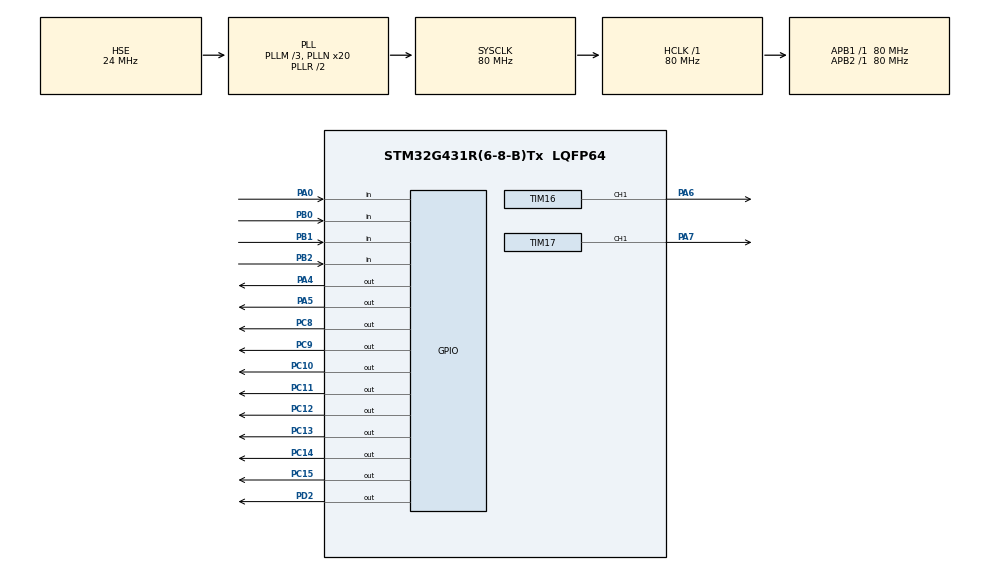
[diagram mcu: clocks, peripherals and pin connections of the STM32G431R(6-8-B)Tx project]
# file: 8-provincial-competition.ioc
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Mcu.Family=STM32G4
Mcu.Name=STM32G431R(6-8-B)Tx
Mcu.Package=LQFP64
NVIC.PriorityGroup=NVIC_PRIORITYGROUP_4
NVIC.TIM2_IRQn=true\:0\:0\:false\:false\:true\:true\:true\:true
NVIC.TIM3_IRQn=true\:0\:0\:false\:false\:true\:true\:true\:true
PA0.GPIO_PuPd=GPIO_PULLUP
PA0.Signal=GPIO_Input
PA13.Mode=Serial_Wire
PA13.Signal=SYS_JTMS-SWDIO
PA14.Mode=Serial_Wire
PA14.Signal=SYS_JTCK-SWCLK
PA4.Signal=GPIO_Output
PA5.Signal=GPIO_Output
PA6.Signal=S_TIM16_CH1
PA7.Signal=S_TIM17_CH1
PB0.GPIO_PuPd=GPIO_PULLUP
PB0.Signal=GPIO_Input
PB1.GPIO_PuPd=GPIO_PULLUP
PB1.Signal=GPIO_Input
PB2.GPIO_PuPd=GPIO_PULLUP
PB2.Signal=GPIO_Input
PC10.PinState=GPIO_PIN_SET
PC10.Signal=GPIO_Output
PC11.PinState=GPIO_PIN_SET
PC11.Signal=GPIO_Output
PC12.PinState=GPIO_PIN_SET
PC12.Signal=GPIO_Output
PC13.PinState=GPIO_PIN_SET
PC13.Signal=GPIO_Output
PC14-OSC32_IN.PinState=GPIO_PIN_SET
PC14-OSC32_IN.Signal=GPIO_Output
PC15-OSC32_OUT.PinState=GPIO_PIN_SET
PC15-OSC32_OUT.Signal=GPIO_Output
PC8.PinState=GPIO_PIN_SET
PC8.Signal=GPIO_Output
PC9.PinState=GPIO_PIN_SET
PC9.Signal=GPIO_Output
PD2.Signal=GPIO_Output
PF0-OSC_IN.Mode=HSE-External-Oscillator
PF0-OSC_IN.Signal=RCC_OSC_IN
PF1-OSC_OUT.Mode=HSE-External-Oscillator
PF1-OSC_OUT.Signal=RCC_OSC_OUT
ProjectManager.HeapSize=0x200
ProjectManager.StackSize=0x400
ProjectManager.TargetToolchain=MDK-ARM V5.32
RCC.ADC12Freq_Value=80000000
RCC.AHBFreq_Value=80000000
RCC.APB1Freq_Value=80000000
RCC.APB1TimFreq_Value=80000000
RCC.APB2Freq_Value=80000000
RCC.APB2TimFreq_Value=80000000
RCC.CortexFreq_Value=80000000
RCC.EXTERNAL_CLOCK_VALUE=12288000
RCC.HCLKFreq_Value=80000000
RCC.HSE_VALUE=24000000
RCC.HSI48_VALUE=48000000
RCC.HSI_VALUE=16000000
RCC.LSE_VALUE=32768
RCC.PLLM=RCC_PLLM_DIV3
RCC.PLLN=20
RCC.PLLSourceVirtual=RCC_PLLSOURCE_HSE
RCC.RTCClockSelection=RCC_RTCCLKSOURCE_HSE_DIV32
RCC.SYSCLKFreq_VALUE=80000000
RCC.SYSCLKSource=RCC_SYSCLKSOURCE_PLLCLK
RCC.USBFreq_Value=80000000
RCC.VCOOutputFreq_Value=160000000
RTC.AsynchPrediv=125
RTC.Format=RTC_FORMAT_BIN
RTC.Hours=12
RTC.Minutes=30
RTC.SynchPrediv=6000
SH.S_TIM16_CH1.0=TIM16_CH1,PWM Generation1 CH1
SH.S_TIM17_CH1.0=TIM17_CH1,PWM Generation1 CH1
TIM16.Channel=TIM_CHANNEL_1
TIM16.PeriodNoDither=100-1
TIM16.Prescaler=800-1
TIM17.Channel=TIM_CHANNEL_1
TIM17.PeriodNoDither=100-1
TIM17.Prescaler=400-1
TIM2.PeriodNoDither=10000-1
TIM2.Prescaler=8000-1
TIM3.PeriodNoDither=10000-1
TIM3.Prescaler=16000-1
VP_RTC_VS_RTC_Activate.Mode=RTC_Enabled
VP_RTC_VS_RTC_Calendar.Mode=RTC_Calendar
VP_SYS_VS_DBSignals.Mode=DisableDeadBatterySignals
VP_TIM16_VS_ClockSourceINT.Mode=Enable_Timer
VP_TIM17_VS_ClockSourceINT.Mode=Enable_Timer
VP_TIM2_VS_ClockSourceINT.Mode=Internal
VP_TIM3_VS_ClockSourceINT.Mode=Internal
board=custom

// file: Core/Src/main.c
/* USER CODE BEGIN Header */
/**
  ******************************************************************************
  * @file           : main.c
  * @brief          : Main program body
  ******************************************************************************
  * @attention
  *
  * Copyright (c) 2025 STMicroelectronics.
  * All rights reserved.
  *
  * This software is licensed under terms that can be found in the LICENSE file
  * in the root directory of this software component.
  * If no LICENSE file comes with this software, it is provided AS-IS.
  *
  ******************************************************************************
  */
/* USER CODE END Header */
#include "main.h"
#include "rtc.h"
#include "tim.h"
#include "gpio.h"

/* USER CODE BEGIN Includes */
#include "lcd.h"
#include "stdio.h"
#include "stdint.h"
#include "string.h"
/* USER CODE END Includes */

/* USER CODE BEGIN PV */
RTC_TimeTypeDef my_time;
RTC_DateTypeDef my_date;
uint8_t B1_State, B1_Last_State;
uint8_t B2_State, B2_Last_State;
uint8_t B3_State, B3_Last_State;
uint8_t B4_State, B4_Last_State;
char text[20];
uint8_t first=1; // 判断是否是第一次
uint8_t led[8] = {0x01, 0x02, 0x04, 0x08, 0x10, 0x20, 0x40, 0x80};
uint8_t go_up[3], go_down[3];  // 存储上行和下行楼层
uint8_t up_cnt, down_cnt, up_cnt1, down_cnt1;
uint8_t platform_num=1;  // 目前实际楼层数目
uint8_t platform_state=0;  // 目前电机工作状态
uint8_t flag1, flag2, flag3, flag4;
uint8_t up_flag, down_flag;  // 上行下行标志位
uint8_t time;  // 表示TIM2的计数值
uint8_t sec_1, sec_2, sec_6;  // 1s、2s、6s的标志位
uint8_t led_up=4, led_down=7;
uint8_t arrive_flag=0;  // 标识是否抵达楼层
/* USER CODE END PV */

void SystemClock_Config(void);
/* USER CODE BEGIN PFP */
void LED_Show(uint8_t led, uint8_t led_mode);
void lcd_interface(void);
void get_rtcvalue(void);
void KEY_Scan(void);
void flag_judge(void);
void lift_run(void);
void door_open(void);
void door_close(void);
void LCD_Shanshuo(void);
/* USER CODE END PFP */

int main(void)
{

  /* MCU Configuration--------------------------------------------------------*/

  /* Reset of all peripherals, Initializes the Flash interface and the Systick. */
  HAL_Init();

  /* Configure the system clock */
  SystemClock_Config();

  /* Initialize all configured peripherals */
  MX_GPIO_Init();
  MX_RTC_Init();
  MX_TIM2_Init();
  MX_TIM3_Init();
  MX_TIM16_Init();
  MX_TIM17_Init();
  /* USER CODE BEGIN 2 */
    LCD_Init();
	LCD_Clear(Black);
	LCD_SetBackColor(Black);
    LCD_SetTextColor(White);
    sprintf (text, "          %d         ",platform_num);
    LCD_DisplayStringLine(Line4, (uint8_t*)text);
  /* USER CODE END 2 */

  /* Infinite loop */
  /* USER CODE BEGIN WHILE */
  while (1){
      lcd_interface();
      KEY_Scan();
      flag_judge();
      lift_run();
    /* USER CODE END WHILE */

  }
}

void SystemClock_Config(void)
{
  RCC_OscInitTypeDef RCC_OscInitStruct = {0};
  RCC_ClkInitTypeDef RCC_ClkInitStruct = {0};

  /** Configure the main internal regulator output voltage
  */
  HAL_PWREx_ControlVoltageScaling(PWR_REGULATOR_VOLTAGE_SCALE1);

  /** Initializes the RCC Oscillators according to the specified parameters
  * in the RCC_OscInitTypeDef structure.
  */
  RCC_OscInitStruct.OscillatorType = RCC_OSCILLATORTYPE_HSE;
  RCC_OscInitStruct.HSEState = RCC_HSE_ON;
  RCC_OscInitStruct.PLL.PLLState = RCC_PLL_ON;
  RCC_OscInitStruct.PLL.PLLSource = RCC_PLLSOURCE_HSE;
  RCC_OscInitStruct.PLL.PLLM = RCC_PLLM_DIV3;
  RCC_OscInitStruct.PLL.PLLN = 20;
  RCC_OscInitStruct.PLL.PLLP = RCC_PLLP_DIV2;
  RCC_OscInitStruct.PLL.PLLQ = RCC_PLLQ_DIV2;
  RCC_OscInitStruct.PLL.PLLR = RCC_PLLR_DIV2;
  if (HAL_RCC_OscConfig(&RCC_OscInitStruct) != HAL_OK)
  {
    Error_Handler();
  }

  /** Initializes the CPU, AHB and APB buses clocks
  */
  RCC_ClkInitStruct.ClockType = RCC_CLOCKTYPE_HCLK|RCC_CLOCKTYPE_SYSCLK
                              |RCC_CLOCKTYPE_PCLK1|RCC_CLOCKTYPE_PCLK2;
  RCC_ClkInitStruct.SYSCLKSource = RCC_SYSCLKSOURCE_PLLCLK;
  RCC_ClkInitStruct.AHBCLKDivider = RCC_SYSCLK_DIV1;
  RCC_ClkInitStruct.APB1CLKDivider = RCC_HCLK_DIV1;
  RCC_ClkInitStruct.APB2CLKDivider = RCC_HCLK_DIV1;

  if (HAL_RCC_ClockConfig(&RCC_ClkInitStruct, FLASH_LATENCY_2) != HAL_OK)
  {
    Error_Handler();
  }
}

/* USER CODE BEGIN 4 */
void LED_Show(uint8_t led, uint8_t led_mode){
    if(led_mode==1){
        HAL_GPIO_WritePin(GPIOC, led<<8, GPIO_PIN_RESET);
        HAL_GPIO_WritePin(GPIOD, GPIO_PIN_2, GPIO_PIN_SET);
        HAL_GPIO_WritePin(GPIOD, GPIO_PIN_2, GPIO_PIN_RESET);
    }else{
        HAL_GPIO_WritePin(GPIOC, led<<8, GPIO_PIN_SET);
        HAL_GPIO_WritePin(GPIOD, GPIO_PIN_2, GPIO_PIN_SET);
        HAL_GPIO_WritePin(GPIOD, GPIO_PIN_2, GPIO_PIN_RESET);
    }
}
/*获取rtc函数*/
void get_rtcvalue(){
	HAL_RTC_GetTime(&hrtc, &my_time, RTC_FORMAT_BIN);
	HAL_RTC_GetDate(&hrtc, &my_date, RTC_FORMAT_BIN);
}
void lcd_interface(){
	get_rtcvalue();
	sprintf (text, "    Now Plantform   ");
    LCD_DisplayStringLine(Line2, (uint8_t*)text);
//	sprintf (text, "          %d         ",platform_num);
//    LCD_DisplayStringLine(Line4, (uint8_t*)text);
	sprintf (text, "    %02d : %02d : %02d    ",my_time.Hours,	my_time.Minutes, my_time.Seconds);
	LCD_DisplayStringLine(Line7, (uint8_t*)text);
}
void KEY_Scan(){
    // 只有电机未工作时才能检测
    if(platform_state==0){
        __HAL_TIM_CLEAR_FLAG(&htim2, TIM_FLAG_UPDATE);  // 清除定时器中断标志位
        HAL_TIM_Base_Start_IT(&htim2);
        TIM2->CNT=0;
        sec_1=0;
        flag1=0;flag2=0;flag3=0;flag4=0;
        while(1){
            lcd_interface();
            B1_State=HAL_GPIO_ReadPin(GPIOB, GPIO_PIN_0);
            B2_State=HAL_GPIO_ReadPin(GPIOB, GPIO_PIN_1);
            B3_State=HAL_GPIO_ReadPin(GPIOB, GPIO_PIN_2);
            B4_State=HAL_GPIO_ReadPin(GPIOA, GPIO_PIN_0);
            if(B1_State==0 && B1_Last_State==1 && platform_num!=1 && flag1==0){
                go_down[down_cnt]=1;
                down_cnt++;
                flag1=1;
                TIM2->CNT=0;
                LED_Show(led[0], 1);
            }
            if(B2_State==0 && B2_Last_State==1&& platform_num!=2 && flag2==0){
                if(platform_num>2){
                    go_down[down_cnt]=2;
                    down_cnt++;
                }else{
                    go_up[up_cnt]=2;
                    up_cnt++;
                }
                flag2=1;
                TIM2->CNT=0;
                LED_Show(led[1], 1);
            }
            if(B3_State==0 && B3_Last_State==1 && platform_num!=3 && flag3==0){
                if(platform_num<3){
                    go_up[up_cnt]=3;
                    up_cnt++;
                }else{
                    go_down[down_cnt]=3;
                    down_cnt++;
                }
                flag3=1;
                TIM2->CNT=0;
                LED_Show(led[2], 1);
            }
            if(B4_State==0 && B4_Last_State==1 && platform_num!=4 && flag4==0){
                go_up[up_cnt]=4;
                up_cnt++;
                flag4=1;
                TIM2->CNT=0;
                LED_Show(led[3], 1);
            }
            B1_Last_State=B1_State;
            B2_Last_State=B2_State;
            B3_Last_State=B3_State;
            B4_Last_State=B4_State;
            if(sec_1==1 && ( strlen((char*)go_up)>0 || strlen((char*)go_down)>0 )){
                HAL_TIM_Base_Stop_IT(&htim2);
                TIM2->CNT=0;
                sec_1=0;
                platform_state=1;
                for (uint8_t i = 0; i < up_cnt; ++i){
                    for (uint8_t j = i+1; j < up_cnt; ++j){
                        if(go_up[i] > go_up[j]){
                            uint8_t temp = go_up[i];
                            go_up[i] = go_up[j];
                            go_up[j] = temp;
                        }
                    }
                }
                for (uint8_t i = 0; i < down_cnt; ++i){
                    for (uint8_t j = i+1; j < down_cnt; ++j){
                        if(go_down[i] < go_down[j]){
                            uint8_t temp = go_down[i];
                            go_down[i] = go_down[j];
                            go_down[j] = temp;
                        }
                    }
                }
                break;
            }
        }
    }
}
void flag_judge(void){
    if(strlen((char*)go_up)>0){
        up_flag=1;
        down_flag=0;
    }else if(strlen((char*)go_up)==0 && strlen((char*)go_down)>0){
        up_flag=0;
        down_flag=1;
    }else{
        up_flag=0;
        down_flag=0;
    }
}
void door_open(){
    sec_2=0;
    HAL_GPIO_WritePin(GPIOA, GPIO_PIN_5, GPIO_PIN_SET);
    HAL_TIM_PWM_Start(&htim17, TIM_CHANNEL_1);
    TIM17->CCR1=60;
    __HAL_TIM_CLEAR_FLAG(&htim3, TIM_FLAG_UPDATE);
    HAL_TIM_Base_Start_IT(&htim3);
    TIM3->CNT=0;
    while(sec_2==0)
        lcd_interface();
    HAL_TIM_Base_Stop_IT(&htim3);
    TIM3->CNT=0;
}
void door_close(){
    sec_2=0;
    HAL_GPIO_WritePin(GPIOA, GPIO_PIN_5, GPIO_PIN_RESET);
    HAL_TIM_PWM_Start(&htim17, TIM_CHANNEL_1);
    TIM17->CCR1=50;
    __HAL_TIM_CLEAR_FLAG(&htim3, TIM_FLAG_UPDATE);
    HAL_TIM_Base_Start_IT(&htim3);
    TIM3->CNT=0;
    while(sec_2==0)
        lcd_interface();
    HAL_TIM_Base_Stop_IT(&htim3);
    TIM3->CNT=0;
}
void wait(){
    sec_2=0;
    __HAL_TIM_CLEAR_FLAG(&htim3, TIM_FLAG_UPDATE);
    HAL_TIM_Base_Start_IT(&htim3);
    TIM3->CNT=0;
    while(sec_2==0)
        lcd_interface();
    HAL_TIM_Base_Stop_IT(&htim3);
    TIM3->CNT=0;
}
void LCD_Shanshuo(){
    for(int i = 0; i < 2; i++){
        sprintf (text, "          %d         ",platform_num);
        LCD_DisplayStringLine(Line4, (uint8_t*)text); // 显示楼层号
        lcd_interface();
        HAL_Delay(250); // 延时500ms
        lcd_interface();
        LCD_ClearLine(Line4); // 清除楼层号显示
        HAL_Delay(250); // 延时500ms
        lcd_interface();
    }
    // 再次显示楼层号
    sprintf (text, "          %d         ",platform_num);
    LCD_DisplayStringLine(Line4, (uint8_t*)text);
}
void lift_run(void){
    // 只有电机正在运转才能执行
    if(platform_state==1){
        if(first){
            first=0;
            door_close();
        }
        time=0;
        sec_6=0;
        __HAL_TIM_CLEAR_FLAG(&htim2, TIM_FLAG_UPDATE);
        HAL_TIM_Base_Start_IT(&htim2);
        TIM2->CNT=0;
        while(1){
            lcd_interface();
            // 上行
            if(up_flag==1 && down_flag==0){
                LED_Show(led[led_up++], 1);
                HAL_Delay(10);
                LED_Show(0xf0, 0);
                led_up = led_up>7?4:led_up;
                HAL_GPIO_WritePin(GPIOA, GPIO_PIN_4, GPIO_PIN_SET);
                HAL_TIM_PWM_Start(&htim16, TIM_CHANNEL_1);
                TIM16->CCR1=80;
            }
            // 下行
            if(up_flag==0 && down_flag==1){
                LED_Show(led[led_down--], 1);
                HAL_Delay(10);
                LED_Show(0xf0, 0);
                led_down = led_down<4?7:led_down;
                HAL_GPIO_WritePin(GPIOA, GPIO_PIN_4, GPIO_PIN_RESET);
                HAL_TIM_PWM_Start(&htim16, TIM_CHANNEL_1);
                TIM16->CCR1=60;
            }
            if(sec_6==1 && ( strlen((char*)go_up)>0 || strlen((char*)go_down)>0 )){
                HAL_TIM_PWM_Stop(&htim16, TIM_CHANNEL_1);
                if(up_flag==1){
                    platform_num++;
                    sprintf (text, "          %d         ",platform_num);
                    LCD_DisplayStringLine(Line4, (uint8_t*)text);
                    if(platform_num==go_up[up_cnt1]){
                        LCD_Shanshuo();
                        LED_Show(led[platform_num-1], 0);
                        up_cnt1++;
                        door_open();
                        wait();
                        door_close();
                    }
                    if(up_cnt1==up_cnt){
                        memset(go_up, 0, 3);
                        up_flag=0;
                        up_cnt1=0;
                        up_cnt=0;
                    }
                }
                if(down_flag==1){
                    platform_num--;
                    sprintf (text, "          %d         ",platform_num);
                    LCD_DisplayStringLine(Line4, (uint8_t*)text);
                    if(platform_num==go_down[down_cnt1]){
                        LCD_Shanshuo();
                        LED_Show(led[platform_num-1], 0);
                        down_cnt1++;
                        door_open();
                        wait();
                        door_close();
                    }
                    if(down_cnt1==down_cnt){
                        memset(go_down, 0, 3);
                        down_flag=0;
                        down_cnt=0;
                        down_cnt1=0;
                    }
                }
                if(up_cnt1==0 && down_cnt1==0){
                    HAL_TIM_Base_Stop_IT(&htim2);
                    platform_state=0;
                    break;
                }
                TIM2->CNT=0;
                time=0;
                sec_6=0;
            }
        }
    }
}
void HAL_TIM_PeriodElapsedCallback(TIM_HandleTypeDef *htim){
    if(htim->Instance==TIM2){
        sec_1=1;
        time++;
        if(time==6){
            sec_6=1;
        }
    }
    if(htim->Instance==TIM3){
        sec_2=1;
    }
}
/* USER CODE END 4 */

void Error_Handler(void)
{
  __disable_irq();
  while (1)
  {
  }
}
